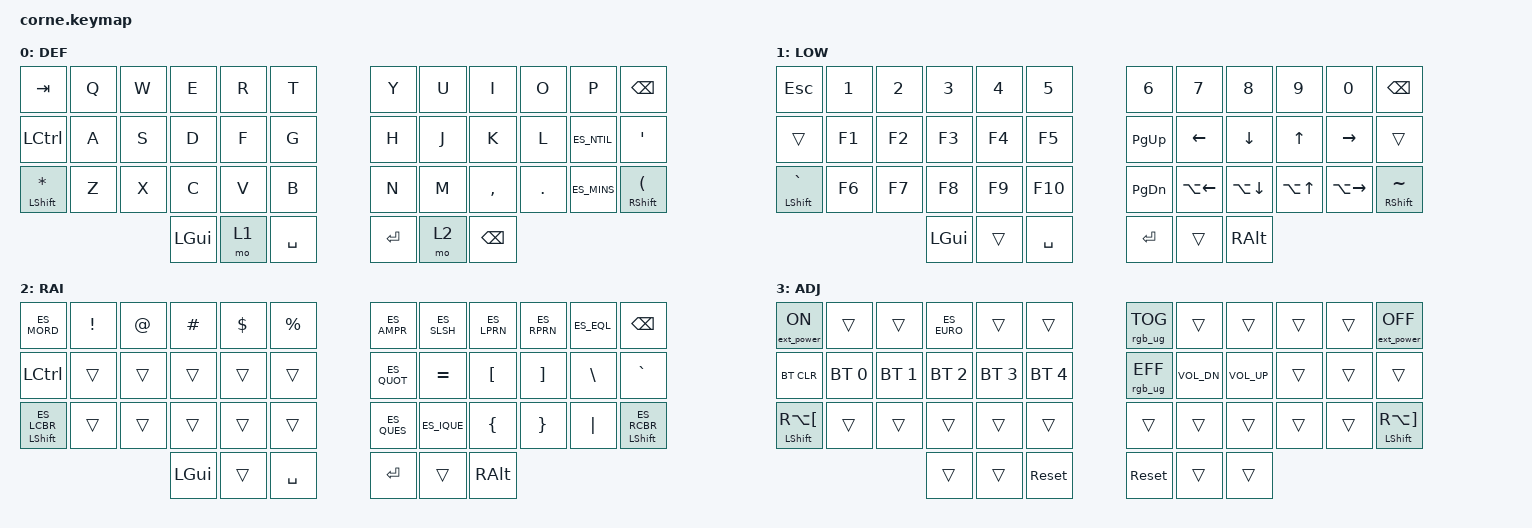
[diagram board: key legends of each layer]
/*
 * Copyright (c) 2020 The ZMK Contributors
 *
 * SPDX-License-Identifier: MIT
 */

#include <behaviors.dtsi>
#include <dt-bindings/zmk/rgb.h>
//#include <dt-bindings/zmk/backlight.h>
#include <dt-bindings/zmk/keys.h>
#include <dt-bindings/zmk/bt.h>
#include <dt-bindings/zmk/ext_power.h>
#include <dt-bindings/zmk/mouse.h> 
#include "keymap_spanish.h"

// Layer aliases
#define DEF 0
#define LOW 1
#define RAI 2
#define ADJ 3

/ {
    conditional_layers {
        compatible = "zmk,conditional-layers";
        tri_layer {
            if-layers = <LOW RAI>;
            then-layer = <ADJ>;
        };
    };
    
        keymap {
                compatible = "zmk,keymap";

                default_layer {
                      label = "DEF";
// -----------------------------------------------------------------------------------------
// |  TAB |  Q  |  W  |  E  |  R  |  T  |   |  Y  |  U   |  I  |  O  |  P  | BKSP |
// | CTRL |  A  |  S  |  D  |  F  |  G  |   |  H  |  J   |  K  |  L  |  ;  |  '   |
// |(SHFT |  Z  |  X  |  C  |  V  |  B  |   |  N  |  M   |  ,  |  .  |  -  | SHFT)|
//                    | GUI | LWR | SPC |   | ENT | RSE  |BKSP |
                        bindings = <
&kp TAB   &kp Q &kp W &kp E &kp R &kp T         &kp Y &kp U &kp I &kp O &kp P &kp BSPC
&kp LCTRL &kp A &kp S &kp D &kp F &kp G         &kp H &kp J &kp K &kp L &kp ES_NTIL &kp SQT
&mt LSHIFT STAR &kp Z &kp X &kp C &kp V &kp B   &kp N &kp M &kp COMMA &kp DOT &kp ES_MINS &mt RSHIFT LPAR
                  &kp LGUI &mo 1 &kp SPACE      &kp RET &mo 2 &kp BKSP
                        >;
                };
                
                lower_layer {
                    label = "LOW";
// -----------------------------------------------------------------------------------------
// |  ESC |  1  |  2  |  3  |  4  |  5  |   |  6  |  7  |  8  |  9  |  0  | BKSP |
// |      | F1  | F2  | F3  | F4  | F5  |   | PU  | LFT | DWN |  UP | RGT |      |
// |  <   | F6  | F7  | F8  | F9  | F10 |   | PD  | Alt LFT | Alt DWN | Alt UP | Alt RGT |   >  |
//                    | GUI |     | SPC |   | ENT |     | ALT |
                        bindings = <
   &kp ESC &kp N1 &kp N2 &kp N3 &kp N4 &kp N5                   &kp N6 &kp N7 &kp N8 &kp N9 &kp N0 &kp BSPC
   &trans &kp F1 &kp F2 &kp F3 &kp F4 &kp F5                    &kp PAGE_UP &kp LEFT &kp DOWN &kp UP &kp RIGHT &trans
   &mt LSHIFT GRAVE  &kp F6 &kp F7 &kp F8 &kp F9 &kp F10        &kp PAGE_DOWN  &kp LA(LEFT_ARROW)  &kp LA(DOWN_ARROW)  &kp LA(UP_ARROW)  &kp LA(RIGHT) &mt RSHIFT TILDE
                          	   &kp LGUI &trans &kp SPACE        &kp RET &trans &kp RALT
                        >;
                };
                
                raise_layer {
                     label = "RAI";
// -----------------------------------------------------------------------------------------
// |  º   |  !  |  @  |  #  |  $  |  %  |   |  ^  |  &  |  *  |  (  |  )  | BKSP |
// | CTRL |     |     |     |     |     |   |  '  |  =  |  [  |  ]  |  \  |  `   |
// |   {  |     |     |     |     |     |   |  ¿  |  ?  |  {  |  }  | "|" |   }  |
//                    | GUI |     | SPC |   | ENT |     | ALT |
                        bindings = <
   &kp ES_MORD &kp EXCL &kp AT &kp HASH &kp DLLR &kp PRCNT       &kp ES_AMPR &kp ES_SLSH  &kp ES_LPRN &kp ES_RPRN &kp ES_EQL &kp BSPC
   &kp LCTRL &trans &trans &trans &trans &trans                  &kp ES_QUOT &kp EQUAL &kp LBKT &kp RBKT &kp BSLH &kp GRAVE
   &mt LSHIFT ES_LCBR &trans &trans &trans &trans &trans         &kp ES_QUES &kp ES_IQUE &kp LBRC &kp RBRC &kp PIPE &mt LSHIFT ES_RCBR
                    	     &kp LGUI &trans &kp SPACE           &kp RET &trans &kp RALT
                        >;
                };
                
                adjust_layer {
                    label = "ADJ";
// -----------------------------------------------------------------------------------------
// |powerON|     |     |  €   |     |     |   | rgb on off    |     |    |    |    |powerOFF|
// | BTCLR| BT1 | BT2 | BT3 | BT4 | BT5 |   | rgb fx    |volDN|volUP|     |     |      |
// | [    |     |     |     |     |     |   |     |     |     |     |     |  ]   |
//                    |     |     |     |   |     |     |     |
                        bindings = <
   &ext_power EP_ON &trans &trans &kp ES_EURO &trans &trans                      &rgb_ug RGB_TOG &trans &trans &trans &trans &ext_power EP_OFF
   &bt BT_CLR &bt BT_SEL 0 &bt BT_SEL 1 &bt BT_SEL 2 &bt BT_SEL 3 &bt BT_SEL 4   &rgb_ug RGB_EFF	 &kp C_VOL_DN &kp C_VOL_UP &trans &trans &trans
   &mt LSHIFT RA(LBKT) &trans &trans &trans &trans &trans                        &trans &trans &trans &trans &trans  &mt LSHIFT RA(RBKT)
                              &trans &trans &sys_reset                               &sys_reset &trans &trans 
                        >;
                };
   };
};
